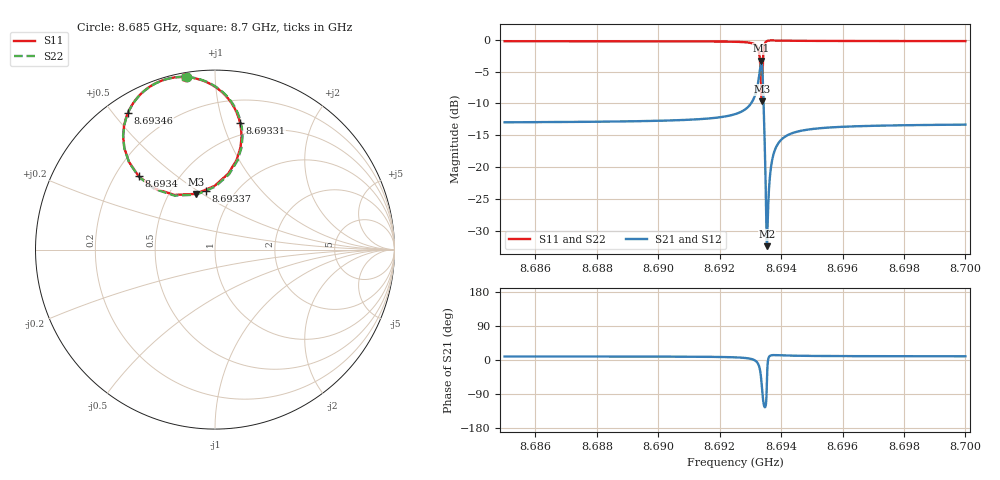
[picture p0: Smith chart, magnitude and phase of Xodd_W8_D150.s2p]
! Sonnet Data File
! From: emgraph Version : 16.52
! From Project: Qubit_Xmon2_brg
! Data is De-embedded
! Data File Written: 10/24/2017 23:45:54
!< HDATE 10/24/2017 16:04:25
!< MDATE 10/24/2017 16:04:25
!< PARAMS
!< Lj = 11.0
!< Gap = 6.0
!< Pwid = 2000.0
!< Airgap = 6.0
!< Width = 10.0
!< Bwid = 8.0
!< Dis1 = 150.0
!< Dis2 = 156.0
!< END PARAMS
# GHZ S MA R 34.70000
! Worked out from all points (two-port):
!   3001 points, 8.685 GHz to 8.7 GHz, reference 34.7 ohm
!   highest |S21| = -3.27 dB at 8.69336 GHz (marker M1); lowest = -32.4 dB at 8.69354 GHz (marker M2)
!   |S21| within 3 dB of the highest: 8.693268 GHz to 8.693405 GHz (136.9 kHz wide, 0.00157 % of centre)
!   lowest |S11| = -9.7 dB at 8.69337 GHz (marker M3), VSWR 1.98, Z = 23.4 + j16.3 ohm
!   |S11| at or under -10 dB: nowhere
!   |S22| runs from -9.8 to -0.1 dB; largest |S21 - S12| = 0
!   S11 on the Smith chart (normalised r, x): 8.685 GHz: 0.02, +0.85; 8.69331 GHz: 0.39, +1.14; 8.69337 GHz: 0.73, +0.54; 8.6934 GHz: 0.30, +0.37; 8.69346 GHz: 0.07, +0.54; 8.7 GHz: 0.02, +0.84
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8.685  0.9744 99.5  0.2247 9.4  0.2247 9.4  0.9744 99.3
!< P1 F=8.685 Eeff=(5.13559215 -5.6621e-5) Z0=(34.6542042 -9.3986e-5) R=0.0 C=0.0
!< P2 F=8.685 Eeff=(5.13559215 -5.6621e-5) Z0=(34.6542042 -9.3986e-5) R=0.0 C=0.0
8.6875  0.974 99.4  0.2266 9.3  0.2266 9.3  0.974 99.2
8.69  0.9729 99.1  0.231 9.0  0.231 9.0  0.9729 98.9
8.6925  0.9646 97.3  0.2604 7.0  0.2604 7.0  0.9646 97.1
8.692915  0.9523 95.3  0.2949 4.5  0.2949 4.5  0.9523 95.0
8.69315  0.9178 91.0  0.3655 -1.2  0.3655 -1.2  0.9177 90.7
8.69324  0.8618 86.2  0.4439 -8.5  0.4439 -8.5  0.8615 85.9
8.693305  0.7209 78.8  0.5659 -22.7  0.5659 -22.7  0.7201 78.4
8.69336  0.3551 90.3  0.6866 -56.4  0.6866 -56.4  0.3508 89.7
8.693365  0.3326 98.9  0.6836 -61.1  0.6836 -61.1  0.3278 98.4
8.69337  0.3282 109.0  0.6752 -66.0  0.6752 -66.0  0.3232 108.8
8.6934  0.5895 136.1  0.52 -95.0  0.52 -95.0  0.5871 136.3
8.693455  0.9016 122.7  0.1973 -122.6  0.1973 -122.6  0.901 122.6
8.693495  0.9563 116.2  0.079 -122.1  0.079 -122.1  0.956 116.1
8.69354  0.9768 112.0  0.02394 -54.0  0.02394 -54.0  0.9767 111.9
8.69359  0.9845 109.3  0.05609 4.7  0.05609 4.7  0.9844 109.1
8.693655  0.9873 107.1  0.09296 11.8  0.09296 11.8  0.9872 106.9
8.69372  0.9876 105.7  0.1169 12.9  0.1169 12.9  0.9875 105.5
8.693895  0.9859 103.7  0.152 12.6  0.152 12.6  0.9859 103.5
8.695  0.9797 100.9  0.1989 10.8  0.1989 10.8  0.9797 100.7
8.6975  0.9772 100.1  0.2123 10.0  0.2123 10.0  0.9772 99.9
8.7  0.9765 99.9  0.2156 9.8  0.2156 9.8  0.9765 99.7
